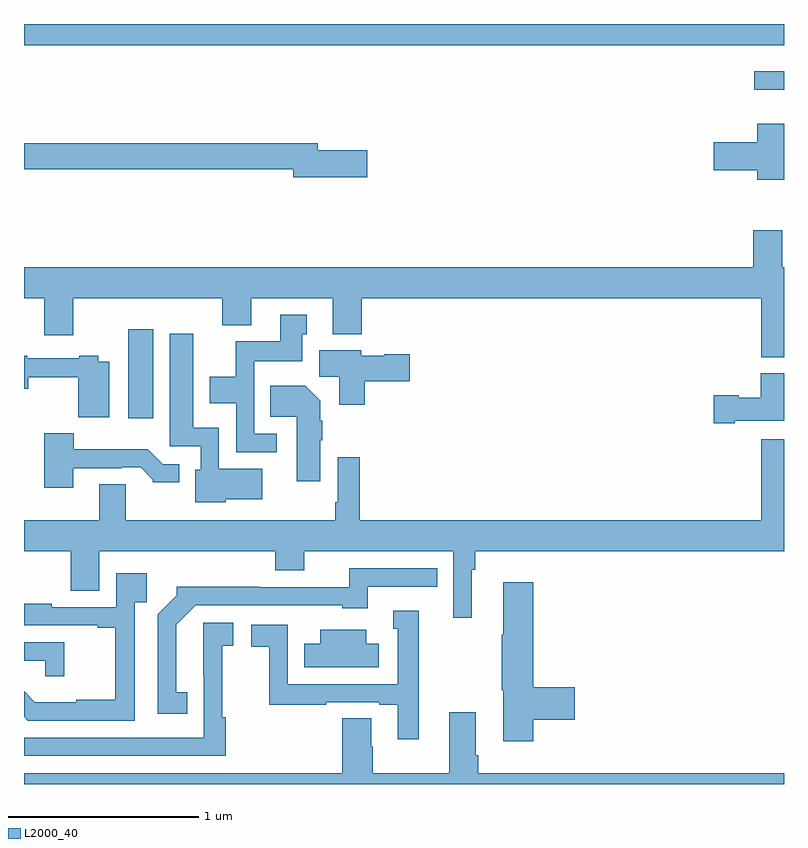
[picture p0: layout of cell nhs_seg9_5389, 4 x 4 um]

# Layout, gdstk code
import gdstk
lib = gdstk.Library(unit=1e-6, precision=1e-09)
def R(c, l, rs):  # rectangles x0, y0, x1, y1
    for r in rs: c.add(gdstk.rectangle(r[:2], r[2:], *l))
def P(c, l, *ps):  # polygons
    for p in ps: c.add(gdstk.Polygon(p, *l))
L2000_40 = (2000, 40)

nhs_seg9_5389 = lib.new_cell('nhs_seg9_5389')
R(nhs_seg9_5389, L2000_40, [(423.548,1226.424,423.679,1226.893), (426.843,1228.155,427,1228.252), (423,1228.388,427,1228.5)])
P(nhs_seg9_5389, L2000_40, [(427,1227.976),(426.86,1227.976),(426.86,1227.878),(426.63,1227.878),(426.63,1227.731),(426.86,1227.731),(426.86,1227.68),(427,1227.68)],
  [(424.807,1227.836),(424.546,1227.836),(424.546,1227.872),(423,1227.872),(423,1227.736),(424.418,1227.736),(424.418,1227.694),(424.807,1227.694)],
  [(427,1227.22),(426.991,1227.22),(426.991,1227.415),(426.839,1227.415),(426.839,1227.22),(423,1227.22),(423,1227.056),(423.107,1227.056),(423.107,1226.862),(423.259,1226.862),(423.259,1227.056),(424.043,1227.056),(424.043,1226.915),(424.195,1226.915),(424.195,1227.056),(424.625,1227.056),(424.625,1226.867),(424.778,1226.867),(424.778,1227.056),(426.881,1227.056),(426.881,1226.747),(427,1226.747)],
  [(424.33,1226.343),(424.212,1226.343),(424.212,1226.726),(424.465,1226.726),(424.465,1226.868),(424.489,1226.868),(424.489,1226.971),(424.349,1226.971),(424.349,1226.83),(424.114,1226.83),(424.114,1226.644),(423.977,1226.644),(423.977,1226.504),(424.116,1226.504),(424.116,1226.247),(424.33,1226.247)],
  [(424.062,1226),(424.255,1226),(424.255,1226.158),(424.026,1226.158),(424.026,1226.374),(423.892,1226.374),(423.892,1226.869),(423.767,1226.869),(423.767,1226.277),(423.93,1226.277),(423.93,1226.154),(423.902,1226.154),(423.902,1225.982),(424.062,1225.982)],
  [(424.793,1226.621),(425.029,1226.621),(425.029,1226.763),(424.896,1226.763),(424.896,1226.755),(424.776,1226.755),(424.776,1226.782),(424.553,1226.782),(424.553,1226.644),(424.658,1226.644),(424.658,1226.496),(424.793,1226.496)],
  [(423.448,1226.722),(423.39,1226.722),(423.39,1226.755),(423.29,1226.755),(423.29,1226.742),(423.018,1226.742),(423.018,1226.755),(423,1226.755),(423,1226.579),(423.022,1226.579),(423.022,1226.641),(423.286,1226.641),(423.286,1226.429),(423.448,1226.429)],
  [(426.742,1226.411),(427,1226.411),(427,1226.662),(426.878,1226.662),(426.878,1226.533),(426.762,1226.533),(426.762,1226.546),(426.63,1226.546),(426.63,1226.399),(426.742,1226.399)],
  [(424.558,1226.308),(424.571,1226.308),(424.571,1226.411),(424.558,1226.411),(424.558,1226.518),(424.48,1226.596),(424.297,1226.596),(424.297,1226.432),(424.436,1226.432),(424.436,1226.094),(424.558,1226.094)],
  [(423.259,1226.163),(423.515,1226.163),(423.515,1226.166),(423.614,1226.166),(423.678,1226.102),(423.678,1226.087),(423.817,1226.087),(423.817,1226.184),(423.729,1226.184),(423.651,1226.263),(423.262,1226.263),(423.262,1226.347),(423.107,1226.347),(423.107,1226.058),(423.259,1226.058)],
  [(427,1226.314),(426.881,1226.314),(426.881,1225.888),(424.766,1225.888),(424.766,1226.221),(424.65,1226.221),(424.65,1225.984),(424.638,1225.984),(424.638,1225.888),(423.535,1225.888),(423.535,1226.078),(423.395,1226.078),(423.395,1225.888),(423,1225.888),(423,1225.724),(423.245,1225.724),(423.245,1225.516),(423.397,1225.516),(423.397,1225.724),(424.322,1225.724),(424.322,1225.625),(424.474,1225.625),(424.474,1225.724),(425.259,1225.724),(425.259,1225.374),(425.356,1225.374),(425.356,1225.628),(425.375,1225.628),(425.375,1225.724),(427,1225.724)],
  [(423.86,1224.983),(423.802,1224.983),(423.802,1225.339),(423.903,1225.44),(424.674,1225.44),(424.674,1225.424),(424.81,1225.424),(424.81,1225.539),(425.174,1225.539),(425.174,1225.635),(424.711,1225.635),(424.711,1225.536),(424.238,1225.536),(424.238,1225.538),(423.804,1225.538),(423.804,1225.493),(423.705,1225.394),(423.705,1224.87),(423.86,1224.87)],
  [(423.582,1225.457),(423.647,1225.457),(423.647,1225.609),(423.486,1225.609),(423.486,1225.431),(423.145,1225.431),(423.145,1225.45),(423,1225.45),(423,1225.335),(423.389,1225.335),(423.389,1225.323),(423.481,1225.323),(423.481,1224.943),(423.275,1224.943),(423.275,1224.931),(423.056,1224.931),(423,1224.987),(423,1224.855),(423.021,1224.834),(423.582,1224.834)],
  [(425.681,1224.839),(425.899,1224.839),(425.899,1225.01),(425.681,1225.01),(425.681,1225.561),(425.522,1225.561),(425.522,1225.286),(425.515,1225.286),(425.515,1224.993),(425.522,1224.993),(425.522,1224.726),(425.681,1224.726)],
  [(425.077,1225.411),(424.943,1225.411),(424.943,1225.317),(424.968,1225.317),(424.968,1225.026),(424.389,1225.026),(424.389,1225.338),(424.197,1225.338),(424.197,1225.222),(424.291,1225.222),(424.291,1224.918),(424.592,1224.918),(424.592,1224.93),(424.871,1224.93),(424.871,1224.918),(424.967,1224.918),(424.967,1224.735),(425.077,1224.735)],
  [(424.061,1224.851),(424.044,1224.851),(424.044,1225.227),(424.102,1225.227),(424.102,1225.348),(423.944,1225.348),(423.944,1225.072),(423.945,1225.072),(423.945,1224.744),(423,1224.744),(423,1224.648),(424.061,1224.648)],
  [(424.867,1225.237),(424.801,1225.237),(424.801,1225.312),(424.559,1225.312),(424.559,1225.237),(424.474,1225.237),(424.474,1225.115),(424.867,1225.115)],
  [(423.212,1225.245),(423,1225.245),(423,1225.149),(423.111,1225.149),(423.111,1225.068),(423.212,1225.068)],
  [(427,1224.556),(425.39,1224.556),(425.39,1224.652),(425.377,1224.652),(425.377,1224.877),(425.237,1224.877),(425.237,1224.556),(424.836,1224.556),(424.836,1224.695),(424.828,1224.695),(424.828,1224.845),(424.676,1224.845),(424.676,1224.556),(423,1224.556),(423,1224.5),(427,1224.5)])

lib.write_gds('nhs_seg9_5389.gds')
